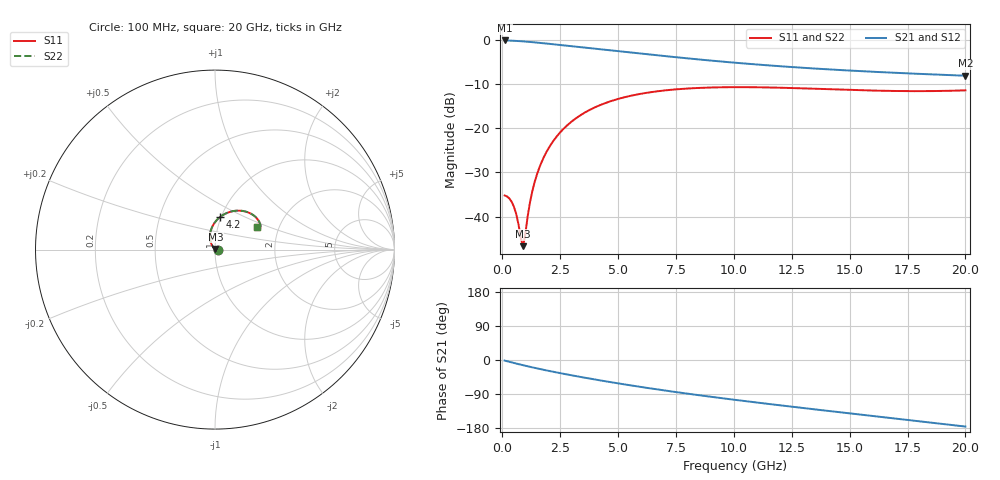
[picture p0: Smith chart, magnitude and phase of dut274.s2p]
! Touchstone file exported from HFSS 2023.1.0
!  File:  D:/Users/fzz/RDL_TSV/temp_RDL_TSV_274_1778762083.aedt
!  Generated:  8:44:58 %x4E0B%x5348  5%x6708 14, 2026
!  Design:  RDL_TSV
!  Project:  temp_RDL_TSV_274_1778762083
!  Setup:  Setup1
!  Solution:  Sweep
! Variables:
!  dtsv = 13.9um
!  hbump = 3um
!  htsv = 63.45um
!  ldown = 556.65um
!  lrdl = 163.61um
!  p = 40
!  p1 = 43.05um
!  rhole = 10um
!  subl = 2324.39um
!  t = 450um
!  tdown = 2.93um
!  trdl = 4.89um
!  viad = 10um
!  wdown = 15.06um
!  wrdl = 11.33um
!  xbump = 18um
# GHz S MA R 50.000000
! Terminal data exported
! Port[1] = TM1_1_T1
! Port[2] = TM1_4_T1
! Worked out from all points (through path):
!   200 points, 100 MHz to 20 GHz, reference 50 ohm
!   highest |S21| = -0.16 dB at 100 MHz (marker M1); lowest = -8.1 dB at 20 GHz (marker M2)
!   group delay of S21, straight-line fit = 23 ps
!   lowest |S11| = -46.7 dB at 900 MHz (marker M3), VSWR 1.01, Z = 50.2 + j0.419 ohm
!   |S11| at or under -10 dB: start of sweep to end of sweep
!   |S22| runs from -46.7 to -10.7 dB; largest |S21 - S12| = 9.7e-15
!   S11 on the Smith chart (normalised r, x): 100 MHz: 1.04, -0.00; 4.2 GHz: 0.99, +0.37; 20 GHz: 1.54, +0.43
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0.1  0.0174 -0.0  0.982 -1.6  0.982 -1.6  0.0174 -0.0
! Gamma 0 0 0 0
! Port Impedance 50 0 50 0
0.3  0.01614 -0.6  0.979 -4.8  0.979 -4.8  0.01614 -0.6
0.5  0.01303 -0.4  0.9737 -7.9  0.9737 -7.9  0.01302 -0.4
0.6  0.01078 1.8  0.9705 -9.4  0.9705 -9.4  0.01077 1.8
0.8  0.005738 25.0  0.963 -12.3  0.963 -12.3  0.005727 25.1
0.9  0.004648 63.8  0.9587 -13.8  0.9587 -13.8  0.004648 64.1
1.2  0.01472 122.3  0.9446 -18.1  0.9446 -18.1  0.01475 122.3
1.3  0.01961 124.3  0.9394 -19.5  0.9394 -19.5  0.01965 124.4
1.5  0.03022 124.1  0.9288 -22.2  0.9288 -22.2  0.03027 124.2
1.7  0.04158 121.7  0.9178 -24.8  0.9178 -24.8  0.04164 121.7
2  0.05942 116.8  0.901 -28.6  0.901 -28.6  0.0595 116.8
2.4  0.08374 109.6  0.8786 -33.5  0.8786 -33.5  0.08385 109.7
2.9  0.1136 101.0  0.851 -39.4  0.851 -39.4  0.1137 101.0
3.5  0.147 91.5  0.8189 -46.1  0.8189 -46.1  0.1472 91.5
4.2  0.1815 81.7  0.7829 -53.5  0.7829 -53.5  0.1818 81.8
5.4  0.2281 67.7  0.7246 -65.6  0.7246 -65.6  0.2284 67.7
6.8  0.2637 54.8  0.6629 -78.6  0.6629 -78.6  0.2641 54.8
8.4  0.2848 43.6  0.602 -92.2  0.602 -92.2  0.2853 43.6
10.1  0.2914 34.9  0.5489 -105.5  0.5489 -105.5  0.2919 35.0
13.4  0.2801 25.7  0.4745 -129.6  0.4745 -129.6  0.2806 25.7
16.7  0.2643 24.7  0.4263 -152.7  0.4263 -152.7  0.2649 24.8
20  0.268 28.5  0.3923 -175.6  0.3923 -175.6  0.2685 28.6
